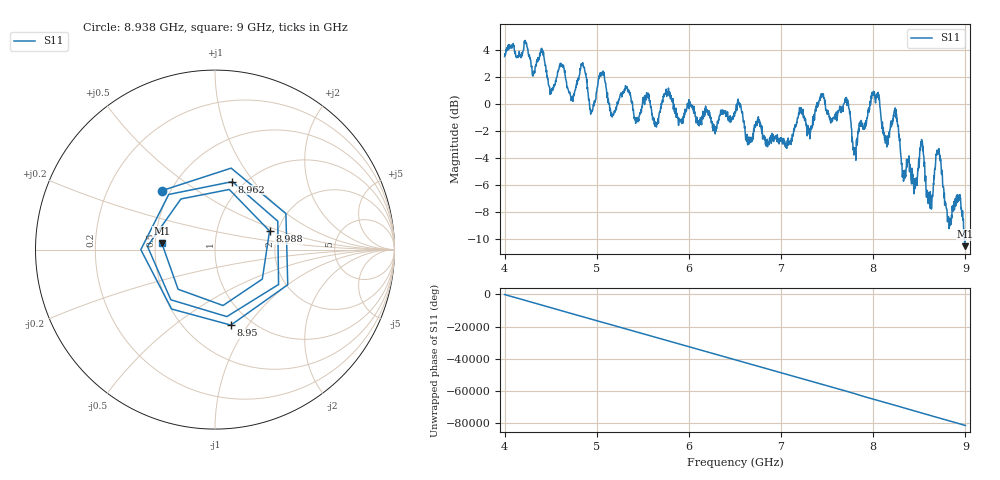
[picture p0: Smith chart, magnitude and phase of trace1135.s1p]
! Created with skrf 1.8.0 (http://scikit-rf.org).
# Hz S RI R 50.0
!freq ReS11 ImS11
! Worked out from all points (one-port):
!   1601 points, 4 GHz to 9 GHz, reference 50 ohm
!   lowest |S11| = -10.5 dB at 9 GHz (marker M1), VSWR 1.85, Z = 27.1 + j2.14 ohm
!   |S11| at or under -10 dB: 8.98938 GHz to end of sweep
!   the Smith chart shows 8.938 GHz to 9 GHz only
!   S11 on the Smith chart (normalised r, x): 8.938 GHz: 0.45, +0.37; 8.95 GHz: 0.81, -0.83; 8.962 GHz: 0.88, +0.79; 8.988 GHz: 1.81, +0.42; 9 GHz: 0.54, +0.04
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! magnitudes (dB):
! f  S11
! 4 GHz  3.5
! 4.406 GHz  4.0
! 4.506 GHz  0.9
! 4.625 GHz  2.8
! 4.731 GHz  0.5
! 4.853 GHz  2.8
! 4.944 GHz  -0.5
! 5.053 GHz  2.1
! 5.162 GHz  -0.9
! 5.25 GHz  0.6
! 5.875 GHz  -0.9
! 6.5 GHz  -0.7
! 7.125 GHz  -2.4
! 7.444 GHz  0.7
! 7.75 GHz  -0.8
! 7.803 GHz  -3.6
! 8.034 GHz  0.4
! 8.375 GHz  -4.2
! 8.456 GHz  -6.2
! 8.531 GHz  -2.7
! 8.619 GHz  -6.5
! 8.706 GHz  -3.7
! 8.822 GHz  -9.2
! 8.938 GHz  -7.1
! 8.95 GHz  -7.3
! 8.962 GHz  -8.2
! 8.988 GHz  -9.9
! 9 GHz  -10.5
